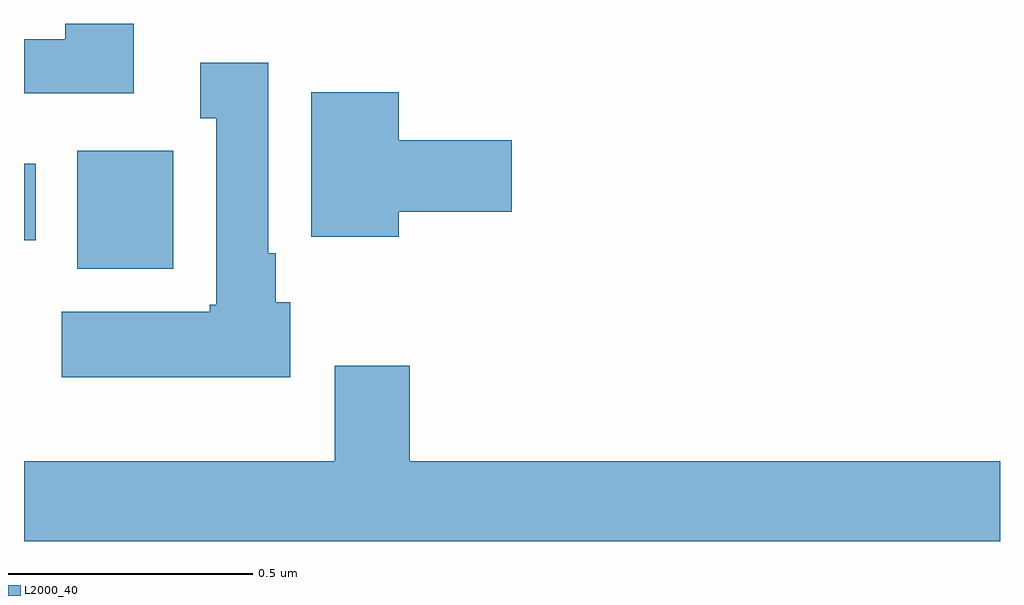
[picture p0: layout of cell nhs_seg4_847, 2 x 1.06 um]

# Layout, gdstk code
import gdstk
lib = gdstk.Library(unit=1e-6, precision=1e-09)
def R(c, l, rs):  # rectangles x0, y0, x1, y1
    for r in rs: c.add(gdstk.rectangle(r[:2], r[2:], *l))
def P(c, l, *ps):  # polygons
    for p in ps: c.add(gdstk.Polygon(p, *l))
L2000_40 = (2000, 40)

nhs_seg4_847 = lib.new_cell('nhs_seg4_847')
R(nhs_seg4_847, L2000_40, [(121.109,777.398,121.306,777.64), (121,777.457,121.024,777.613)])
P(nhs_seg4_847, L2000_40, [(121.225,777.9),(121.085,777.9),(121.085,777.868),(121,777.868),(121,777.758),(121.225,777.758)],
  [(121.546,777.33),(121.516,777.33),(121.516,777.43),(121.501,777.43),(121.501,777.82),(121.361,777.82),(121.361,777.707),(121.394,777.707),(121.394,777.324),(121.381,777.324),(121.381,777.31),(121.077,777.31),(121.077,777.176),(121.546,777.176)],
  [(121.768,777.515),(121.999,777.515),(121.999,777.662),(121.768,777.662),(121.768,777.76),(121.589,777.76),(121.589,777.464),(121.768,777.464)],
  [(123,777.004),(121.79,777.004),(121.79,777.199),(121.637,777.199),(121.637,777.004),(121,777.004),(121,776.84),(123,776.84)])

lib.write_gds('nhs_seg4_847.gds')
